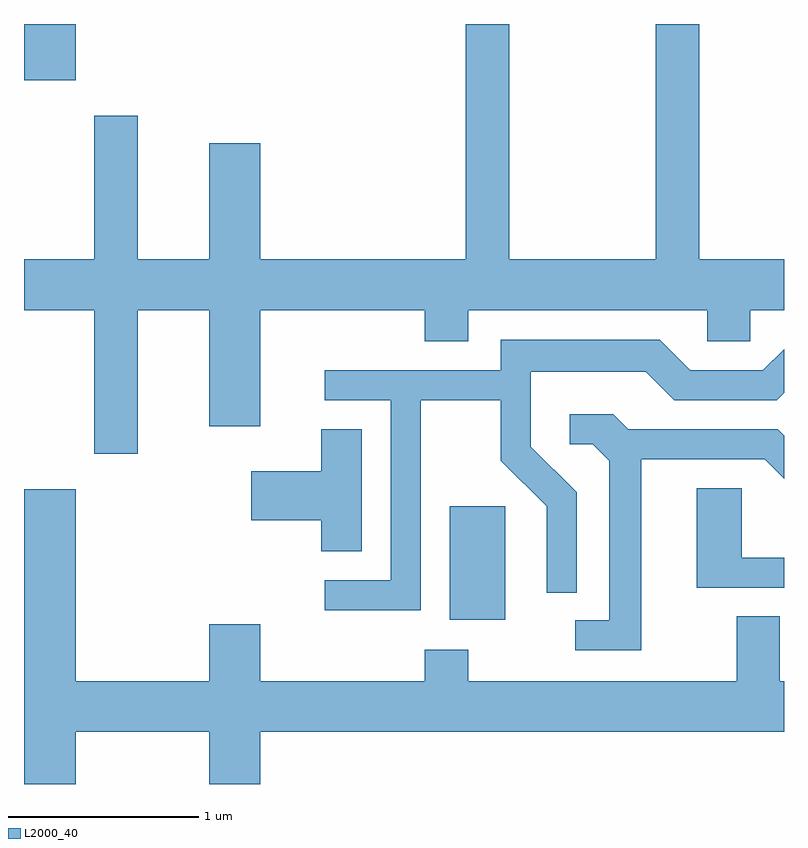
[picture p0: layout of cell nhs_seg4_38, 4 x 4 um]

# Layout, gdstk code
import gdstk
lib = gdstk.Library(unit=1e-6, precision=1e-09)
def R(c, l, rs):  # rectangles x0, y0, x1, y1
    for r in rs: c.add(gdstk.rectangle(r[:2], r[2:], *l))
def P(c, l, *ps):  # polygons
    for p in ps: c.add(gdstk.Polygon(p, *l))
L2000_40 = (2000, 40)

nhs_seg4_38 = lib.new_cell('nhs_seg4_38')
R(nhs_seg4_38, L2000_40, [(187.851,1330.846,188.144,1331.444), (185.611,1333.686,185.884,1333.982)])
P(nhs_seg4_38, L2000_40, [(186.209,1332.476),(186.586,1332.476),(186.586,1331.866),(186.854,1331.866),(186.854,1332.476),(187.721,1332.476),(187.721,1332.311),(187.949,1332.311),(187.949,1332.476),(189.206,1332.476),(189.206,1332.311),(189.434,1332.311),(189.434,1332.476),(189.611,1332.476),(189.611,1332.744),(189.164,1332.744),(189.164,1333.982),(188.936,1333.982),(188.936,1332.744),(188.164,1332.744),(188.164,1333.982),(187.936,1333.982),(187.936,1332.744),(186.854,1332.744),(186.854,1333.354),(186.586,1333.354),(186.586,1332.744),(186.209,1332.744),(186.209,1333.499),(185.981,1333.499),(185.981,1332.744),(185.611,1332.744),(185.611,1332.476),(185.981,1332.476),(185.981,1331.721),(186.209,1331.721)],
  [(187.699,1332.001),(188.121,1332.001),(188.121,1331.684),(188.361,1331.444),(188.361,1330.988),(188.519,1330.988),(188.519,1331.517),(188.279,1331.757),(188.279,1332.151),(188.884,1332.151),(189.034,1332.001),(189.572,1332.001),(189.611,1332.04),(189.611,1332.271),(189.499,1332.159),(189.117,1332.159),(188.957,1332.319),(188.121,1332.319),(188.121,1332.159),(187.193,1332.159),(187.193,1332.001),(187.541,1332.001),(187.541,1331.054),(187.193,1331.054),(187.193,1330.896),(187.699,1330.896)],
  [(188.859,1331.691),(189.509,1331.691),(189.611,1331.589),(189.611,1331.815),(189.577,1331.849),(188.792,1331.849),(188.712,1331.929),(188.483,1331.929),(188.483,1331.771),(188.604,1331.771),(188.691,1331.684),(188.691,1330.844),(188.513,1330.844),(188.513,1330.686),(188.859,1330.686)],
  [(187.389,1331.849),(187.176,1331.849),(187.176,1331.629),(186.806,1331.629),(186.806,1331.371),(187.176,1331.371),(187.176,1331.206),(187.389,1331.206)],
  [(189.611,1331.174),(189.389,1331.174),(189.389,1331.539),(189.151,1331.539),(189.151,1331.016),(189.611,1331.016)],
  [(185.884,1330.256),(186.586,1330.256),(186.586,1329.982),(186.854,1329.982),(186.854,1330.256),(189.611,1330.256),(189.611,1330.524),(189.589,1330.524),(189.589,1330.864),(189.361,1330.864),(189.361,1330.524),(187.949,1330.524),(187.949,1330.689),(187.721,1330.689),(187.721,1330.524),(186.854,1330.524),(186.854,1330.824),(186.586,1330.824),(186.586,1330.524),(185.884,1330.524),(185.884,1331.534),(185.611,1331.534),(185.611,1329.982),(185.884,1329.982)])

lib.write_gds('nhs_seg4_38.gds')
